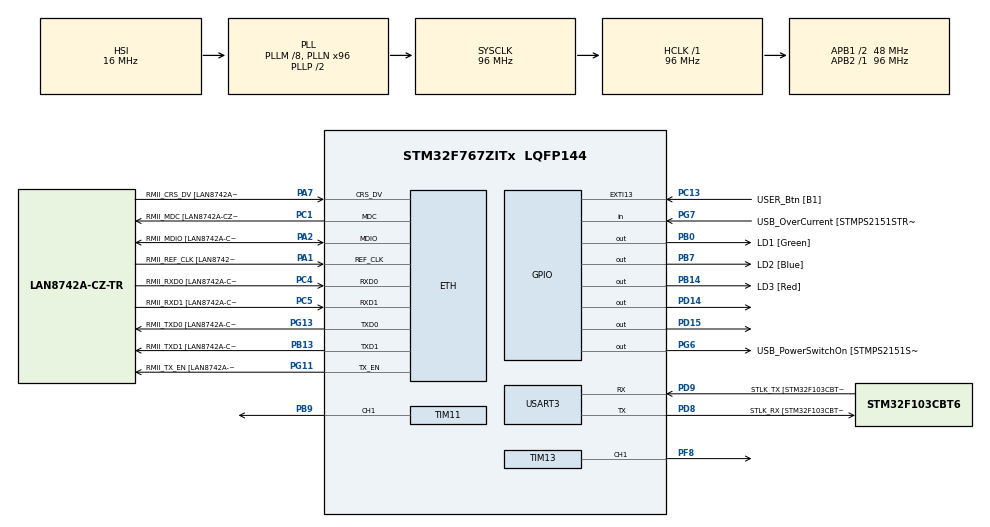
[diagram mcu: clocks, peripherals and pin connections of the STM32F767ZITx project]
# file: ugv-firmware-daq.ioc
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CORTEX_M7.AccessPermission-Cortex_Memory_Protection_Unit_Region0_Settings=MPU_REGION_FULL_ACCESS
CORTEX_M7.BaseAddress-Cortex_Memory_Protection_Unit_Region0_Settings=0x2007c000
CORTEX_M7.CPU_DCache=Enabled
CORTEX_M7.CPU_ICache=Enabled
CORTEX_M7.DisableExec-Cortex_Memory_Protection_Unit_Region0_Settings=MPU_INSTRUCTION_ACCESS_DISABLE
CORTEX_M7.Enable-Cortex_Memory_Protection_Unit_Region0_Settings=MPU_REGION_ENABLE
CORTEX_M7.Enable-Cortex_Memory_Protection_Unit_Region1_Settings=__NULL
CORTEX_M7.Enable-Cortex_Memory_Protection_Unit_Region2_Settings=__NULL
CORTEX_M7.IsShareable-Cortex_Memory_Protection_Unit_Region0_Settings=MPU_ACCESS_SHAREABLE
CORTEX_M7.MPU_Control=MPU_PRIVILEGED_DEFAULT
CORTEX_M7.PREFETCH_ENABLE=1
CORTEX_M7.Size-Cortex_Memory_Protection_Unit_Region0_Settings=MPU_REGION_SIZE_16KB
CORTEX_M7.SubRegionDisable-Cortex_Memory_Protection_Unit_Region0_Settings=0x0
CORTEX_M7.TypeExtField-Cortex_Memory_Protection_Unit_Region0_Settings=MPU_TEX_LEVEL1
ETH.MediaInterface=HAL_ETH_RMII_MODE
LWIP.BSP.number=1
LWIP.GATEWAY_ADDRESS=169.254.155.001
LWIP.IP_ADDRESS=169.254.155.101
LWIP.LWIP_DHCP=0
LWIP.LWIP_RAM_HEAP_POINTER=0x2007c140
LWIP.MEM_SIZE=10*1024
LWIP.NETMASK_ADDRESS=255.255.255.000
LWIP.Version=v2.1.2_Cube
LWIP0.BSP.STBoard=false
LWIP0.BSP.api=BSP_COMPONENT_DRIVER
LWIP0.BSP.component=LAN8742
LWIP0.BSP.instance=LAN8742
LWIP0.BSP.name=Driver_PHY
LWIP0.BSP.semaphore=S_LAN8742
LWIP0.BSP.solution=LAN8742
Mcu.Family=STM32F7
Mcu.Name=STM32F767ZITx
Mcu.Package=LQFP144
NVIC.ETH_IRQn=true\:0\:0\:false\:false\:true\:true\:true\:true
NVIC.PriorityGroup=NVIC_PRIORITYGROUP_4
NVIC.TIM2_IRQn=true\:0\:0\:false\:false\:true\:true\:true\:true
PA1.GPIO_Label=RMII_REF_CLK [LAN8742A-CZ-TR_REFCLK0]
PA1.Mode=RMII
PA1.Signal=ETH_REF_CLK
PA10.GPIO_Label=USB_ID
PA10.Signal=USB_OTG_FS_ID
PA11.GPIO_Label=USB_DM
PA11.Signal=USB_OTG_FS_DM
PA12.GPIO_Label=USB_DP
PA12.Signal=USB_OTG_FS_DP
PA13.GPIO_Label=TMS
PA13.Signal=SYS_JTMS-SWDIO
PA14.GPIO_Label=TCK
PA14.Signal=SYS_JTCK-SWCLK
PA2.GPIO_Label=RMII_MDIO [LAN8742A-CZ-TR_MDIO]
PA2.Mode=RMII
PA2.Signal=ETH_MDIO
PA7.GPIO_Label=RMII_CRS_DV [LAN8742A-CZ-TR_CRS_DV]
PA7.Mode=RMII
PA7.Signal=ETH_CRS_DV
PA8.GPIO_Label=USB_SOF [TP1]
PA8.Signal=USB_OTG_FS_SOF
PA9.GPIO_Label=USB_VBUS
PA9.Signal=USB_OTG_FS_VBUS
PB0.GPIO_Label=LD1 [Green]
PB0.Signal=GPIO_Output
PB13.GPIO_Label=RMII_TXD1 [LAN8742A-CZ-TR_TXD1]
PB13.Mode=RMII
PB13.Signal=ETH_TXD1
PB14.GPIO_Label=LD3 [Red]
PB14.Signal=GPIO_Output
PB3.GPIO_Label=SW0
PB3.Signal=SYS_JTDO-SWO
PB7.GPIO_Label=LD2 [Blue]
PB7.Signal=GPIO_Output
PB9.Signal=S_TIM11_CH1
PC1.GPIO_Label=RMII_MDC [LAN8742A-CZ-TR_MDC]
PC1.Mode=RMII
PC1.Signal=ETH_MDC
PC13.GPIO_Label=USER_Btn [B1]
PC13.Signal=GPXTI13
PC14/OSC32_IN.Signal=RCC_OSC32_IN
PC15/OSC32_OUT.Signal=RCC_OSC32_OUT
PC4.GPIO_Label=RMII_RXD0 [LAN8742A-CZ-TR_RXD0]
PC4.Mode=RMII
PC4.Signal=ETH_RXD0
PC5.GPIO_Label=RMII_RXD1 [LAN8742A-CZ-TR_RXD1]
PC5.Mode=RMII
PC5.Signal=ETH_RXD1
PD14.Signal=GPIO_Output
PD15.Signal=GPIO_Output
PD8.GPIO_Label=STLK_RX [STM32F103CBT6_PA3]
PD8.Mode=Asynchronous
PD8.Signal=USART3_TX
PD9.GPIO_Label=STLK_TX [STM32F103CBT6_PA2]
PD9.Mode=Asynchronous
PD9.Signal=USART3_RX
PF8.Signal=S_TIM13_CH1
PG11.GPIO_Label=RMII_TX_EN [LAN8742A-CZ-TR_TXEN]
PG11.Mode=RMII
PG11.Signal=ETH_TX_EN
PG13.GPIO_Label=RMII_TXD0 [LAN8742A-CZ-TR_TXD0]
PG13.Mode=RMII
PG13.Signal=ETH_TXD0
PG6.GPIO_Label=USB_PowerSwitchOn [STMPS2151STR_EN]
PG6.Signal=GPIO_Output
PG7.GPIO_Label=USB_OverCurrent [STMPS2151STR_FAULT]
PG7.Signal=GPIO_Input
PH0/OSC_IN.GPIO_Label=MCO [STM32F103CBT6_PA8]
PH0/OSC_IN.Mode=HSE-External-Oscillator
PH0/OSC_IN.Signal=RCC_OSC_IN
PH1/OSC_OUT.Mode=HSE-External-Oscillator
PH1/OSC_OUT.Signal=RCC_OSC_OUT
ProjectManager.HeapSize=0x200
ProjectManager.StackSize=0x400
ProjectManager.TargetToolchain=STM32CubeIDE
RCC.48MHZClocksFreq_Value=24000000
RCC.AHBFreq_Value=96000000
RCC.APB1CLKDivider=RCC_HCLK_DIV2
RCC.APB1Freq_Value=48000000
RCC.APB1TimFreq_Value=96000000
RCC.APB2Freq_Value=96000000
RCC.APB2TimFreq_Value=96000000
RCC.CortexFreq_Value=96000000
RCC.HCLKFreq_Value=96000000
RCC.HSE_VALUE=16000000
RCC.HSI_VALUE=16000000
RCC.LSE_VALUE=32768
RCC.PLLM=8
RCC.PLLMUL=RCC_PLL_MUL9
RCC.PLLN=96
RCC.PRESCALERUSB=RCC_USBCLKSOURCE_PLL_DIV1_5
RCC.SYSCLKFreq_VALUE=96000000
RCC.SYSCLKSource=RCC_SYSCLKSOURCE_PLLCLK
RCC.SYSCLKSourceVirtual=RCC_SYSCLKSOURCE_PLLCLK
RCC.USBFreq_Value=96000000
RCC.VCOOutputFreq_Value=192000000
SH.S_TIM11_CH1.0=TIM11_CH1,PWM Generation1 CH1
SH.S_TIM13_CH1.0=TIM13_CH1,PWM Generation1 CH1
TIM11.Channel=TIM_CHANNEL_1
TIM11.Period=480-1
TIM11.Prescaler=10-1
TIM13.Channel=TIM_CHANNEL_1
TIM13.Period=20000-1
TIM13.Prescaler=96-1
TIM2.Period=100000-1
TIM2.Prescaler=96-1
USART3.VirtualMode-Asynchronous=VM_ASYNC
VP_LWIP_VS_Enabled.Mode=Enabled
VP_TIM11_VS_ClockSourceINT.Mode=Enable_Timer
VP_TIM13_VS_ClockSourceINT.Mode=Enable_Timer
VP_TIM2_VS_ClockSourceINT.Mode=Internal
board=NUCLEO-F767ZI

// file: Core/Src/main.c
/* USER CODE BEGIN Header */
/**
  ******************************************************************************
  * @file           : main.c
  * @brief          : Main program body
  ******************************************************************************
  * @attention
  *
  * Copyright (c) 2026 STMicroelectronics.
  * All rights reserved.
  *
  * This software is licensed under terms that can be found in the LICENSE file
  * in the root directory of this software component.
  * If no LICENSE file comes with this software, it is provided AS-IS.
  *
  ******************************************************************************
  */
/* USER CODE END Header */
#include "main.h"
#include "lwip.h"

/* USER CODE BEGIN Includes */
#include "lwip/pbuf.h"
#include "lwip/udp.h"
#include "lwip/tcp.h"

#include "stdio.h"
#include "string.h"
#include "math.h"

#include "ugv_servo.h"
#include "ugv_drive_servo.h"
/* USER CODE END Includes */

/* USER CODE BEGIN PM */
const float VH_MAX_HEADING = 200.0;
const float VH_MIN_HEADING = 120.0;

const float VH_MAX_VEL = 0.8;
const float VH_MIN_VEL = -0.8;
/* USER CODE END PM */

TIM_HandleTypeDef htim2;
TIM_HandleTypeDef htim11;
TIM_HandleTypeDef htim13;

UART_HandleTypeDef huart3;

/* USER CODE BEGIN PV */
MotorControl ugv_drive_mtr;
//MotorControl ugv_drive_mtr2;

extern struct netif gnetif;
struct udp_pcb *upcb;
char buffer[100];
/* USER CODE END PV */

void SystemClock_Config(void);
static void MPU_Config(void);
static void MX_GPIO_Init(void);
static void MX_TIM13_Init(void);
static void MX_TIM2_Init(void);
static void MX_USART3_UART_Init(void);
static void MX_TIM11_Init(void);
/* USER CODE BEGIN PFP */
void udp_receive_callback(void *arg, struct udp_pcb *upcb, struct pbuf *p,
		const ip_addr_t *addr, u16_t port);
//static void udp_client_send();
void HAL_TIM_PeriodElapsedCallback(TIM_HandleTypeDef *htim);
void udp_client_connect();
/* USER CODE END PFP */

/* USER CODE BEGIN 0 */
float vh_heading = 0.0;
float vh_vel_mag = 0.0;
int duty_cycle = 0;
float vh_conv_heading = 160.0;
ugvServo_t vh_steering;

//TEST VARIABLES
int vh_vel_direction = 1;
int vh_heading_direction = 1;
/* USER CODE END 0 */

int main(void)
{

  /* MPU Configuration--------------------------------------------------------*/
  MPU_Config();

  /* Enable the CPU Cache */

  /* Enable I-Cache---------------------------------------------------------*/
  SCB_EnableICache();

  /* Enable D-Cache---------------------------------------------------------*/
  SCB_EnableDCache();

  /* MCU Configuration--------------------------------------------------------*/

  /* Reset of all peripherals, Initializes the Flash interface and the Systick. */
  HAL_Init();

  /* Configure the system clock */
  SystemClock_Config();

  /* Initialize all configured peripherals */
  MX_GPIO_Init();
  MX_LWIP_Init();
  MX_TIM13_Init();
  MX_TIM2_Init();
  MX_USART3_UART_Init();
  MX_TIM11_Init();
  /* USER CODE BEGIN 2 */
  vh_steering.timerInstance = &htim13;
  vh_steering.timerCCRX = &TIM13->CCR1;
  vh_steering.timerCh = TIM_CHANNEL_1;
  vh_steering.timerARR = htim13.Init.Period;
  vh_steering.minPulse = 500;
  vh_steering.maxPulse = 2500;
  vh_steering.timerPeriod = 20000;
  vh_steering.travelAngle = 300.0;
  vh_steering.minLimit = 120.0; //120
  vh_steering.maxLimit = 200.0; // 200
  vh_steering.travelOffset = 0.0; //steering

  ugv_servoInitServo(&vh_steering);
  MotorControl_Init(&ugv_drive_mtr, &htim11, TIM_CHANNEL_1);
  HAL_TIM_Base_Start_IT(&htim2);
  udp_client_connect();
  /* USER CODE END 2 */

  /* Infinite loop */
  while (1)
  {

    /* USER CODE BEGIN 3 */
	  ethernetif_input(&gnetif);
	  ethernet_link_check_state(&gnetif);
	  sys_check_timeouts();
	  /*
	  if(vh_vel_direction){
		  vh_vel_mag += 0.001;
		  if(vh_vel_mag >= VH_MAX_VEL)
			  vh_vel_direction = 0;
	  }
	  else{
		  vh_vel_mag -= 0.001;
		  if(vh_vel_mag <= VH_MIN_VEL)
			  vh_vel_direction = 1;
	  }
	  duty_cycle = (int)(fabsf(0.9) * 480.0);
	  MotorControl_SetSpeed(&ugv_drive_mtr, 0.9, duty_cycle);
	*/
	  /*
	  if(vh_heading_direction){
		  vh_heading += 0.25;
	  	  if(vh_heading >= VH_MAX_HEADING)
	  		  vh_heading_direction = 0;
	  	  }
	  	  else{
	  		  vh_heading -= 0.25;
	  		  if(vh_heading <= VH_MIN_HEADING)
	  			  vh_heading_direction = 1;
	  }
	  ugv_servoSetAngle(&vh_steering, vh_heading);

	  HAL_Delay(10);
	  */
  }
  /* USER CODE END 3 */
}

void SystemClock_Config(void)
{
  RCC_OscInitTypeDef RCC_OscInitStruct = {0};
  RCC_ClkInitTypeDef RCC_ClkInitStruct = {0};

  /** Configure the main internal regulator output voltage
  */
  __HAL_RCC_PWR_CLK_ENABLE();
  __HAL_PWR_VOLTAGESCALING_CONFIG(PWR_REGULATOR_VOLTAGE_SCALE3);

  /** Initializes the RCC Oscillators according to the specified parameters
  * in the RCC_OscInitTypeDef structure.
  */
  RCC_OscInitStruct.OscillatorType = RCC_OSCILLATORTYPE_HSI;
  RCC_OscInitStruct.HSIState = RCC_HSI_ON;
  RCC_OscInitStruct.HSICalibrationValue = RCC_HSICALIBRATION_DEFAULT;
  RCC_OscInitStruct.PLL.PLLState = RCC_PLL_ON;
  RCC_OscInitStruct.PLL.PLLSource = RCC_PLLSOURCE_HSI;
  RCC_OscInitStruct.PLL.PLLM = 8;
  RCC_OscInitStruct.PLL.PLLN = 96;
  RCC_OscInitStruct.PLL.PLLP = RCC_PLLP_DIV2;
  RCC_OscInitStruct.PLL.PLLQ = 2;
  RCC_OscInitStruct.PLL.PLLR = 2;
  if (HAL_RCC_OscConfig(&RCC_OscInitStruct) != HAL_OK)
  {
    Error_Handler();
  }

  /** Activate the Over-Drive mode
  */
  if (HAL_PWREx_EnableOverDrive() != HAL_OK)
  {
    Error_Handler();
  }

  /** Initializes the CPU, AHB and APB buses clocks
  */
  RCC_ClkInitStruct.ClockType = RCC_CLOCKTYPE_HCLK|RCC_CLOCKTYPE_SYSCLK
                              |RCC_CLOCKTYPE_PCLK1|RCC_CLOCKTYPE_PCLK2;
  RCC_ClkInitStruct.SYSCLKSource = RCC_SYSCLKSOURCE_PLLCLK;
  RCC_ClkInitStruct.AHBCLKDivider = RCC_SYSCLK_DIV1;
  RCC_ClkInitStruct.APB1CLKDivider = RCC_HCLK_DIV2;
  RCC_ClkInitStruct.APB2CLKDivider = RCC_HCLK_DIV1;

  if (HAL_RCC_ClockConfig(&RCC_ClkInitStruct, FLASH_LATENCY_3) != HAL_OK)
  {
    Error_Handler();
  }
}

static void MX_TIM2_Init(void)
{

  TIM_ClockConfigTypeDef sClockSourceConfig = {0};
  TIM_MasterConfigTypeDef sMasterConfig = {0};

  htim2.Instance = TIM2;
  htim2.Init.Prescaler = 96-1;
  htim2.Init.CounterMode = TIM_COUNTERMODE_UP;
  htim2.Init.Period = 100000-1;
  htim2.Init.ClockDivision = TIM_CLOCKDIVISION_DIV1;
  htim2.Init.AutoReloadPreload = TIM_AUTORELOAD_PRELOAD_DISABLE;
  if (HAL_TIM_Base_Init(&htim2) != HAL_OK)
  {
    Error_Handler();
  }
  sClockSourceConfig.ClockSource = TIM_CLOCKSOURCE_INTERNAL;
  if (HAL_TIM_ConfigClockSource(&htim2, &sClockSourceConfig) != HAL_OK)
  {
    Error_Handler();
  }
  sMasterConfig.MasterOutputTrigger = TIM_TRGO_RESET;
  sMasterConfig.MasterSlaveMode = TIM_MASTERSLAVEMODE_DISABLE;
  if (HAL_TIMEx_MasterConfigSynchronization(&htim2, &sMasterConfig) != HAL_OK)
  {
    Error_Handler();
  }

}

static void MX_TIM11_Init(void)
{

  TIM_OC_InitTypeDef sConfigOC = {0};

  htim11.Instance = TIM11;
  htim11.Init.Prescaler = 10-1;
  htim11.Init.CounterMode = TIM_COUNTERMODE_UP;
  htim11.Init.Period = 480-1;
  htim11.Init.ClockDivision = TIM_CLOCKDIVISION_DIV1;
  htim11.Init.AutoReloadPreload = TIM_AUTORELOAD_PRELOAD_DISABLE;
  if (HAL_TIM_Base_Init(&htim11) != HAL_OK)
  {
    Error_Handler();
  }
  if (HAL_TIM_PWM_Init(&htim11) != HAL_OK)
  {
    Error_Handler();
  }
  sConfigOC.OCMode = TIM_OCMODE_PWM1;
  sConfigOC.Pulse = 0;
  sConfigOC.OCPolarity = TIM_OCPOLARITY_HIGH;
  sConfigOC.OCFastMode = TIM_OCFAST_DISABLE;
  if (HAL_TIM_PWM_ConfigChannel(&htim11, &sConfigOC, TIM_CHANNEL_1) != HAL_OK)
  {
    Error_Handler();
  }
  HAL_TIM_MspPostInit(&htim11);

}

static void MX_TIM13_Init(void)
{

  TIM_OC_InitTypeDef sConfigOC = {0};

  htim13.Instance = TIM13;
  htim13.Init.Prescaler = 96-1;
  htim13.Init.CounterMode = TIM_COUNTERMODE_UP;
  htim13.Init.Period = 20000-1;
  htim13.Init.ClockDivision = TIM_CLOCKDIVISION_DIV1;
  htim13.Init.AutoReloadPreload = TIM_AUTORELOAD_PRELOAD_DISABLE;
  if (HAL_TIM_Base_Init(&htim13) != HAL_OK)
  {
    Error_Handler();
  }
  if (HAL_TIM_PWM_Init(&htim13) != HAL_OK)
  {
    Error_Handler();
  }
  sConfigOC.OCMode = TIM_OCMODE_PWM1;
  sConfigOC.Pulse = 0;
  sConfigOC.OCPolarity = TIM_OCPOLARITY_HIGH;
  sConfigOC.OCFastMode = TIM_OCFAST_DISABLE;
  if (HAL_TIM_PWM_ConfigChannel(&htim13, &sConfigOC, TIM_CHANNEL_1) != HAL_OK)
  {
    Error_Handler();
  }
  HAL_TIM_MspPostInit(&htim13);

}

static void MX_USART3_UART_Init(void)
{

  huart3.Instance = USART3;
  huart3.Init.BaudRate = 115200;
  huart3.Init.WordLength = UART_WORDLENGTH_8B;
  huart3.Init.StopBits = UART_STOPBITS_1;
  huart3.Init.Parity = UART_PARITY_NONE;
  huart3.Init.Mode = UART_MODE_TX_RX;
  huart3.Init.HwFlowCtl = UART_HWCONTROL_NONE;
  huart3.Init.OverSampling = UART_OVERSAMPLING_16;
  huart3.Init.OneBitSampling = UART_ONE_BIT_SAMPLE_DISABLE;
  huart3.AdvancedInit.AdvFeatureInit = UART_ADVFEATURE_NO_INIT;
  if (HAL_UART_Init(&huart3) != HAL_OK)
  {
    Error_Handler();
  }

}

static void MX_GPIO_Init(void)
{
  GPIO_InitTypeDef GPIO_InitStruct = {0};

  /* GPIO Ports Clock Enable */
  __HAL_RCC_GPIOC_CLK_ENABLE();
  __HAL_RCC_GPIOF_CLK_ENABLE();
  __HAL_RCC_GPIOH_CLK_ENABLE();
  __HAL_RCC_GPIOA_CLK_ENABLE();
  __HAL_RCC_GPIOB_CLK_ENABLE();
  __HAL_RCC_GPIOD_CLK_ENABLE();
  __HAL_RCC_GPIOG_CLK_ENABLE();

  /*Configure GPIO pin Output Level */
  HAL_GPIO_WritePin(GPIOB, LD1_Pin|LD3_Pin|LD2_Pin, GPIO_PIN_RESET);

  /*Configure GPIO pin Output Level */
  HAL_GPIO_WritePin(GPIOD, GPIO_PIN_14|GPIO_PIN_15, GPIO_PIN_RESET);

  /*Configure GPIO pin Output Level */
  HAL_GPIO_WritePin(USB_PowerSwitchOn_GPIO_Port, USB_PowerSwitchOn_Pin, GPIO_PIN_RESET);

  /*Configure GPIO pin : USER_Btn_Pin */
  GPIO_InitStruct.Pin = USER_Btn_Pin;
  GPIO_InitStruct.Mode = GPIO_MODE_IT_RISING;
  GPIO_InitStruct.Pull = GPIO_NOPULL;
  HAL_GPIO_Init(USER_Btn_GPIO_Port, &GPIO_InitStruct);

  /*Configure GPIO pins : LD1_Pin LD3_Pin LD2_Pin */
  GPIO_InitStruct.Pin = LD1_Pin|LD3_Pin|LD2_Pin;
  GPIO_InitStruct.Mode = GPIO_MODE_OUTPUT_PP;
  GPIO_InitStruct.Pull = GPIO_NOPULL;
  GPIO_InitStruct.Speed = GPIO_SPEED_FREQ_LOW;
  HAL_GPIO_Init(GPIOB, &GPIO_InitStruct);

  /*Configure GPIO pins : PD14 PD15 */
  GPIO_InitStruct.Pin = GPIO_PIN_14|GPIO_PIN_15;
  GPIO_InitStruct.Mode = GPIO_MODE_OUTPUT_PP;
  GPIO_InitStruct.Pull = GPIO_NOPULL;
  GPIO_InitStruct.Speed = GPIO_SPEED_FREQ_LOW;
  HAL_GPIO_Init(GPIOD, &GPIO_InitStruct);

  /*Configure GPIO pin : USB_PowerSwitchOn_Pin */
  GPIO_InitStruct.Pin = USB_PowerSwitchOn_Pin;
  GPIO_InitStruct.Mode = GPIO_MODE_OUTPUT_PP;
  GPIO_InitStruct.Pull = GPIO_NOPULL;
  GPIO_InitStruct.Speed = GPIO_SPEED_FREQ_LOW;
  HAL_GPIO_Init(USB_PowerSwitchOn_GPIO_Port, &GPIO_InitStruct);

  /*Configure GPIO pin : USB_OverCurrent_Pin */
  GPIO_InitStruct.Pin = USB_OverCurrent_Pin;
  GPIO_InitStruct.Mode = GPIO_MODE_INPUT;
  GPIO_InitStruct.Pull = GPIO_NOPULL;
  HAL_GPIO_Init(USB_OverCurrent_GPIO_Port, &GPIO_InitStruct);

  /*Configure GPIO pins : USB_SOF_Pin USB_ID_Pin USB_DM_Pin USB_DP_Pin */
  GPIO_InitStruct.Pin = USB_SOF_Pin|USB_ID_Pin|USB_DM_Pin|USB_DP_Pin;
  GPIO_InitStruct.Mode = GPIO_MODE_AF_PP;
  GPIO_InitStruct.Pull = GPIO_NOPULL;
  GPIO_InitStruct.Speed = GPIO_SPEED_FREQ_VERY_HIGH;
  GPIO_InitStruct.Alternate = GPIO_AF10_OTG_FS;
  HAL_GPIO_Init(GPIOA, &GPIO_InitStruct);

  /*Configure GPIO pin : USB_VBUS_Pin */
  GPIO_InitStruct.Pin = USB_VBUS_Pin;
  GPIO_InitStruct.Mode = GPIO_MODE_INPUT;
  GPIO_InitStruct.Pull = GPIO_NOPULL;
  HAL_GPIO_Init(USB_VBUS_GPIO_Port, &GPIO_InitStruct);

}

/* USER CODE BEGIN 4 */
void HAL_TIM_PeriodElapsedCallback(TIM_HandleTypeDef *htim)
{
	// logging data every second
	//udp_client_send();
	char log[200] = {0};
	sprintf(log, "Heading angle: %f, Velocity: %f, duty cycle: %d\r\n", vh_conv_heading, vh_vel_mag, duty_cycle);
	HAL_UART_Transmit(&huart3, (uint8_t*)log, sizeof(log), HAL_MAX_DELAY);
}

void udp_client_connect()
{
	err_t err;

	// Create a new UDP control block
	// Need to check for null return
	upcb = udp_new();

	// Bind control block to module's IP address and port
	// Static IP address of Controls: 169.254.155.100
	ip_addr_t my_ip;
	IP_ADDR4(&my_ip, 169, 254, 155, 101);

	// Binds udp protocol control block to a local IP address
	// Arbitrary port # selection: 8
	udp_bind(upcb, &my_ip, 9);

	// Configure destination IP address to be TBD
	ip_addr_t DestIPaddr;
	IP_ADDR4(&DestIPaddr, 169, 254, 155, 1);

	err = udp_connect(upcb, &DestIPaddr, 12345);

	if (err == HAL_OK)
	{
		// Blue LED
		HAL_GPIO_TogglePin(GPIOB, GPIO_PIN_7);
		// Set a receive callback for the upcb when server sends data to client
		udp_recv(upcb, udp_receive_callback, NULL);
	}
}

/*
static void udp_client_send()
{
	struct pbuf *tx_buff;
	char data[100] = {0};

	int len = sprintf(data, "Pay-load angle: %f, End effector: %f\r\n", pl_angle, plend_angle);

	// Allocate pbuf from pool
	tx_buff = pbuf_alloc(PBUF_TRANSPORT, len, PBUF_RAM);

	if (tx_buff != NULL)
	{
		// Copy data into pbuf
		pbuf_take(tx_buff, data, len);

		// Send udp data
		udp_send(upcb, tx_buff);

		// Free pbuf
		pbuf_free(tx_buff);
	}
}
*/

void udp_receive_callback(void *arg, struct udp_pcb *upcb, struct pbuf *p,
		const ip_addr_t *addr, u16_t port)
{
	// Copy data from the pbuf
	strncpy(buffer, (char *)p->payload, p->len);
	//Parse Input
	uint8_t data_index = 0;
	// PARSES DATA
	float data_vals[10] = {0};
	char *buffer_data = strtok(buffer, ",");
	while (buffer_data != NULL && data_index < 10)
	{
		float conv_check = atof(buffer_data);
		//Make data was converted properly
		if (conv_check == 0)
		{
			HAL_GPIO_TogglePin(GPIOB, GPIO_PIN_14);
		}

		data_vals[data_index] = conv_check;

		++data_index;
		buffer_data = strtok(NULL, ",");
	}
	// steering 0, velocity 1
	pbuf_free(p);
	vh_heading = data_vals[0];
	vh_vel_mag = data_vals[1];
	if(fabsf(vh_vel_mag) > VH_MAX_VEL){
		vh_vel_mag = VH_MAX_VEL;
	}
	vh_conv_heading = (VH_MIN_HEADING + ((VH_MAX_HEADING - VH_MIN_HEADING) / 2.0)) + (vh_heading*((VH_MAX_HEADING - VH_MIN_HEADING) / 2.0));
	duty_cycle = (int)(fabsf(vh_vel_mag) * 480.0);
	ugv_servoSetAngle(&vh_steering, vh_conv_heading);
	MotorControl_SetSpeed(&ugv_drive_mtr, vh_vel_mag, duty_cycle);
}
/* USER CODE END 4 */

 /* MPU Configuration */

void MPU_Config(void)
{
  MPU_Region_InitTypeDef MPU_InitStruct = {0};

  /* Disables the MPU */
  HAL_MPU_Disable();

  /** Initializes and configures the Region and the memory to be protected
  */
  MPU_InitStruct.Enable = MPU_REGION_ENABLE;
  MPU_InitStruct.Number = MPU_REGION_NUMBER0;
  MPU_InitStruct.BaseAddress = 0x2007c000;
  MPU_InitStruct.Size = MPU_REGION_SIZE_16KB;
  MPU_InitStruct.SubRegionDisable = 0x0;
  MPU_InitStruct.TypeExtField = MPU_TEX_LEVEL1;
  MPU_InitStruct.AccessPermission = MPU_REGION_FULL_ACCESS;
  MPU_InitStruct.DisableExec = MPU_INSTRUCTION_ACCESS_DISABLE;
  MPU_InitStruct.IsShareable = MPU_ACCESS_SHAREABLE;
  MPU_InitStruct.IsCacheable = MPU_ACCESS_NOT_CACHEABLE;
  MPU_InitStruct.IsBufferable = MPU_ACCESS_NOT_BUFFERABLE;

  HAL_MPU_ConfigRegion(&MPU_InitStruct);
  /* Enables the MPU */
  HAL_MPU_Enable(MPU_PRIVILEGED_DEFAULT);

}

void Error_Handler(void)
{
  __disable_irq();
  while (1)
  {
  }
}
